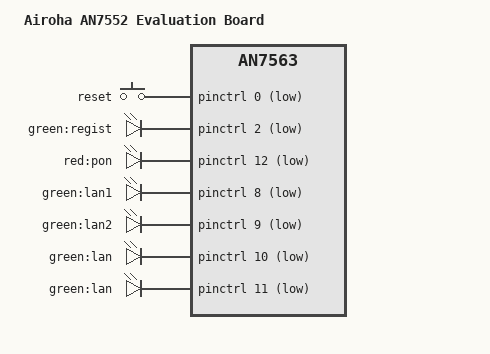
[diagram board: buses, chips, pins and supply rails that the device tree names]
// SPDX-License-Identifier: (GPL-2.0-only OR BSD-2-Clause)
/dts-v1/;

#include <dt-bindings/input/linux-event-codes.h>
#include <dt-bindings/leds/common.h>
#include "an7563-evb.dts"

/ {
	model = "Airoha AN7552 Evaluation Board";
	compatible = "airoha,an7552-evb", "airoha,an7552-evb",
		     "airoha,an7552", "airoha,an7563";

	keys {
		compatible = "gpio-keys";

		reset {
			label = "reset";
			linux,code = <KEY_RESTART>;
			gpios = <&pinctrl 0 GPIO_ACTIVE_LOW>;
			debounce-interval = <60>;
		};
	};

	leds {
		compatible = "gpio-leds";

		led-0 {
			label = "green:regist";
			gpios = <&pinctrl 2 GPIO_ACTIVE_LOW>;
		};

		led-1 {
			label = "red:pon";
			gpios = <&pinctrl 12 GPIO_ACTIVE_LOW>;
		};

		led-3 {
			label = "green:lan1";
			gpios = <&pinctrl 8 GPIO_ACTIVE_LOW>;
		};

		led-4 {
			label = "green:lan2";
			gpios = <&pinctrl 9 GPIO_ACTIVE_LOW>;
		};

		led-5 {
			label = "green:lan";
			gpios = <&pinctrl 10 GPIO_ACTIVE_LOW>;
		};

		led-6 {
			label = "green:lan";
			gpios = <&pinctrl 11 GPIO_ACTIVE_LOW>;
		};
	};
};
